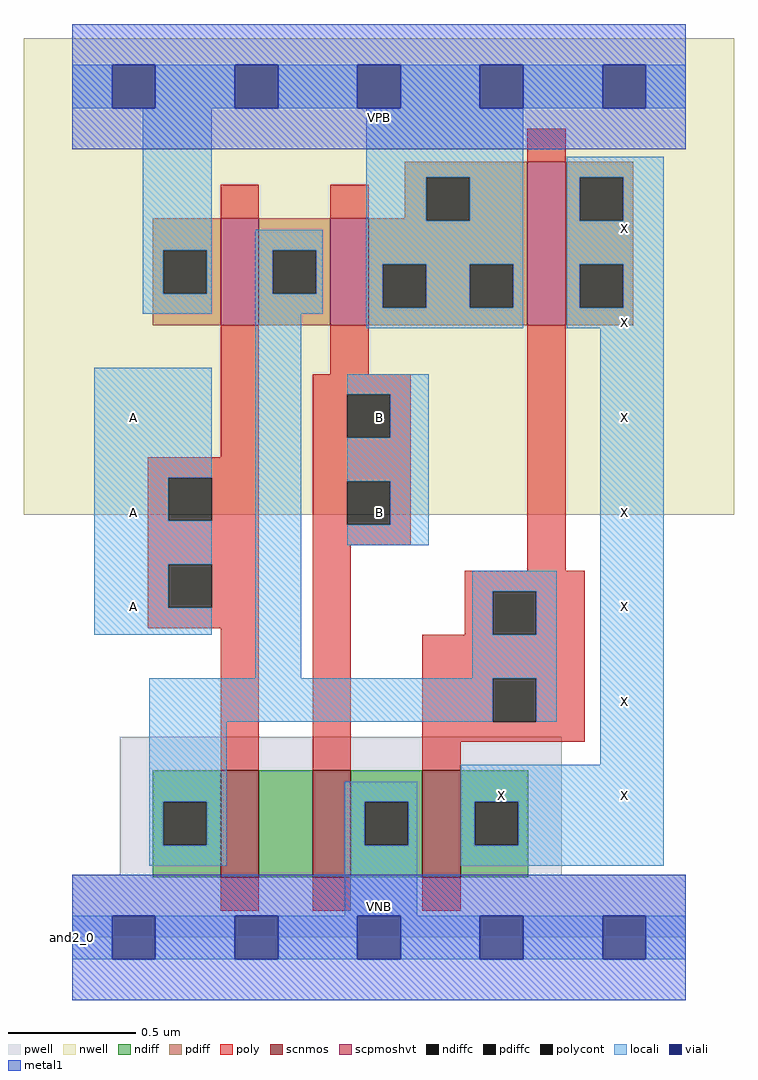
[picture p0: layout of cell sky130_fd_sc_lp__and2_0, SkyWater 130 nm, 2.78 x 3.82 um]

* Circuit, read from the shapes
.subckt sky130_fd_sc_lp__and2_0 A B VGND VNB VPB VPWR X
XM1 n1 A n2 VNB sky130_fd_pr__nfet_01v8 w=0.42 l=0.15
XM2 VGND B n1 VNB sky130_fd_pr__nfet_01v8 w=0.42 l=0.15
XM3 X n2 VGND VNB sky130_fd_pr__nfet_01v8 w=0.42 l=0.15
XM4 n2 A VPWR VPB sky130_fd_pr__pfet_01v8_hvt w=0.42 l=0.15
XM5 VPWR B n2 VPB sky130_fd_pr__pfet_01v8_hvt w=0.42 l=0.15
XM6 X n2 VPWR VPB sky130_fd_pr__pfet_01v8_hvt w=0.64 l=0.15
.ends

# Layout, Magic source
magic
tech sky130A
magscale 1 2
<< nwell >>
rect -38 331 518 704
<< pwell >>
rect 37 49 383 157
rect 0 0 480 49
<< scnmos >>
rect 116 47 146 131
rect 188 47 218 131
rect 274 47 304 131
<< scpmoshvt >>
rect 116 479 146 563
rect 202 479 232 563
rect 356 479 386 607
<< ndiff >>
rect 63 106 116 131
rect 63 72 71 106
rect 105 72 116 106
rect 63 47 116 72
rect 146 47 188 131
rect 218 106 274 131
rect 218 72 229 106
rect 263 72 274 106
rect 218 47 274 72
rect 304 106 357 131
rect 304 72 315 106
rect 349 72 357 106
rect 304 47 357 72
<< pdiff >>
rect 260 595 356 607
rect 260 563 277 595
rect 63 538 116 563
rect 63 504 71 538
rect 105 504 116 538
rect 63 479 116 504
rect 146 538 202 563
rect 146 504 157 538
rect 191 504 202 538
rect 146 479 202 504
rect 232 561 277 563
rect 311 561 356 595
rect 232 527 356 561
rect 232 493 243 527
rect 277 493 311 527
rect 345 493 356 527
rect 232 479 356 493
rect 386 595 439 607
rect 386 561 397 595
rect 431 561 439 595
rect 386 527 439 561
rect 386 493 397 527
rect 431 493 439 527
rect 386 479 439 493
<< ndiffc >>
rect 71 72 105 106
rect 229 72 263 106
rect 315 72 349 106
<< pdiffc >>
rect 71 504 105 538
rect 157 504 191 538
rect 277 561 311 595
rect 243 493 277 527
rect 311 493 345 527
rect 397 561 431 595
rect 397 493 431 527
<< poly >>
rect 356 607 386 633
rect 116 563 146 589
rect 202 563 232 589
rect 116 376 146 479
rect 202 441 232 479
rect 59 360 146 376
rect 59 326 75 360
rect 109 326 146 360
rect 59 292 146 326
rect 59 258 75 292
rect 109 258 146 292
rect 59 242 146 258
rect 116 131 146 242
rect 188 425 265 441
rect 188 391 215 425
rect 249 391 265 425
rect 188 357 265 391
rect 188 323 215 357
rect 249 323 265 357
rect 188 307 265 323
rect 188 131 218 307
rect 356 287 386 479
rect 307 271 401 287
rect 307 237 329 271
rect 363 237 401 271
rect 274 203 401 237
rect 274 169 329 203
rect 363 169 401 203
rect 274 153 401 169
rect 274 131 304 153
rect 116 21 146 47
rect 188 21 218 47
rect 274 21 304 47
<< polycont >>
rect 75 326 109 360
rect 75 258 109 292
rect 215 391 249 425
rect 215 323 249 357
rect 329 237 363 271
rect 329 169 363 203
<< locali >>
rect 0 649 31 683
rect 65 649 127 683
rect 161 649 223 683
rect 257 649 319 683
rect 353 649 415 683
rect 449 649 480 683
rect 55 538 109 649
rect 230 595 353 649
rect 230 561 277 595
rect 311 561 353 595
rect 55 504 71 538
rect 105 504 109 538
rect 55 488 109 504
rect 143 538 196 554
rect 143 504 157 538
rect 191 504 196 538
rect 143 488 196 504
rect 230 527 353 561
rect 230 493 243 527
rect 277 493 311 527
rect 345 493 353 527
rect 17 360 109 446
rect 17 326 75 360
rect 17 292 109 326
rect 17 258 75 292
rect 17 237 109 258
rect 143 203 179 488
rect 230 477 353 493
rect 387 595 463 611
rect 387 561 397 595
rect 431 561 463 595
rect 387 527 463 561
rect 387 493 397 527
rect 431 493 463 527
rect 387 477 463 493
rect 215 425 279 441
rect 249 391 279 425
rect 215 357 279 391
rect 249 323 279 357
rect 215 307 279 323
rect 313 271 379 287
rect 313 237 329 271
rect 363 237 379 271
rect 313 203 379 237
rect 60 169 329 203
rect 363 169 379 203
rect 60 106 121 169
rect 413 135 463 477
rect 60 72 71 106
rect 105 72 121 106
rect 60 56 121 72
rect 213 106 270 122
rect 213 72 229 106
rect 263 72 270 106
rect 213 17 270 72
rect 304 106 463 135
rect 304 72 315 106
rect 349 72 463 106
rect 304 56 463 72
rect 0 -17 31 17
rect 65 -17 127 17
rect 161 -17 223 17
rect 257 -17 319 17
rect 353 -17 415 17
rect 449 -17 480 17
<< viali >>
rect 31 649 65 683
rect 127 649 161 683
rect 223 649 257 683
rect 319 649 353 683
rect 415 649 449 683
rect 31 -17 65 17
rect 127 -17 161 17
rect 223 -17 257 17
rect 319 -17 353 17
rect 415 -17 449 17
<< metal1 >>
rect 0 683 480 715
rect 0 649 31 683
rect 65 649 127 683
rect 161 649 223 683
rect 257 649 319 683
rect 353 649 415 683
rect 449 649 480 683
rect 0 617 480 649
rect 0 17 480 49
rect 0 -17 31 17
rect 65 -17 127 17
rect 161 -17 223 17
rect 257 -17 319 17
rect 353 -17 415 17
rect 449 -17 480 17
rect 0 -49 480 -17
<< labels >>
flabel pwell s 0 0 480 49 0 FreeSans 200 0 0 0 VNB
port 4 nsew ground bidirectional
flabel nwell s 0 617 480 666 0 FreeSans 200 0 0 0 VPB
port 5 nsew power bidirectional
rlabel comment s 0 0 0 0 4 and2_0
flabel metal1 s 0 617 480 666 0 FreeSans 340 0 0 0 VPWR
port 6 nsew power bidirectional
flabel metal1 s 0 0 480 49 0 FreeSans 340 0 0 0 VGND
port 3 nsew ground bidirectional
flabel locali s 319 94 353 128 0 FreeSans 340 0 0 0 X
port 7 nsew signal output
flabel locali s 415 94 449 128 0 FreeSans 340 0 0 0 X
port 7 nsew signal output
flabel locali s 31 242 65 276 0 FreeSans 340 0 0 0 A
port 1 nsew signal input
flabel locali s 31 316 65 350 0 FreeSans 340 0 0 0 A
port 1 nsew signal input
flabel locali s 31 390 65 424 0 FreeSans 340 0 0 0 A
port 1 nsew signal input
flabel locali s 223 316 257 350 0 FreeSans 340 0 0 0 B
port 2 nsew signal input
flabel locali s 223 390 257 424 0 FreeSans 340 0 0 0 B
port 2 nsew signal input
flabel locali s 415 538 449 572 0 FreeSans 340 0 0 0 X
port 7 nsew signal output
flabel locali s 415 464 449 498 0 FreeSans 340 0 0 0 X
port 7 nsew signal output
flabel locali s 415 390 449 424 0 FreeSans 340 0 0 0 X
port 7 nsew signal output
flabel locali s 415 316 449 350 0 FreeSans 340 0 0 0 X
port 7 nsew signal output
flabel locali s 415 242 449 276 0 FreeSans 340 0 0 0 X
port 7 nsew signal output
flabel locali s 415 168 449 202 0 FreeSans 340 0 0 0 X
port 7 nsew signal output
<< properties >>
string LEFsite unit
string LEFclass CORE
string FIXED_BBOX 0 0 480 666
string GDS_FILE $PDKPATH/libs.ref/sky130_fd_sc_lp/gds/sky130_fd_sc_lp.gds
string LEFsymmetry X Y R90
string GDS_END 1673122
string GDS_START 1667424
<< end >>
